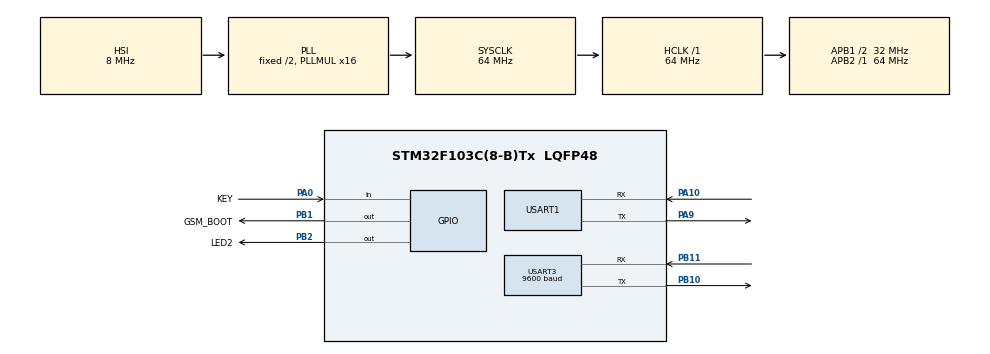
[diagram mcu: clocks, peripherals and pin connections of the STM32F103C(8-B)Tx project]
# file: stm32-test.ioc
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Mcu.Family=STM32F1
Mcu.Name=STM32F103C(8-B)Tx
Mcu.Package=LQFP48
NVIC.PriorityGroup=NVIC_PRIORITYGROUP_4
PA0-WKUP.GPIO_Label=KEY
PA0-WKUP.GPIO_PuPd=GPIO_PULLDOWN
PA0-WKUP.Signal=GPIO_Input
PA10.Mode=Asynchronous
PA10.Signal=USART1_RX
PA13.Mode=Serial_Wire
PA13.Signal=SYS_JTMS-SWDIO
PA14.Mode=Serial_Wire
PA14.Signal=SYS_JTCK-SWCLK
PA9.Mode=Asynchronous
PA9.Signal=USART1_TX
PB1.GPIO_Label=GSM_BOOT
PB1.GPIO_ModeDefaultOutputPP=GPIO_MODE_OUTPUT_OD
PB1.GPIO_PuPd=GPIO_NOPULL
PB1.Signal=GPIO_Output
PB10.Mode=Asynchronous
PB10.Signal=USART3_TX
PB11.Mode=Asynchronous
PB11.Signal=USART3_RX
PB2.GPIO_Label=LED2
PB2.Signal=GPIO_Output
ProjectManager.HeapSize=0x200
ProjectManager.StackSize=0x400
ProjectManager.TargetToolchain=STM32CubeIDE
RCC.AHBFreq_Value=64000000
RCC.APB1CLKDivider=RCC_HCLK_DIV2
RCC.APB1Freq_Value=32000000
RCC.APB1TimFreq_Value=64000000
RCC.APB2Freq_Value=64000000
RCC.APB2TimFreq_Value=64000000
RCC.HCLKFreq_Value=64000000
RCC.PLLMUL=RCC_PLL_MUL16
RCC.SYSCLKFreq_VALUE=64000000
RCC.SYSCLKSource=RCC_SYSCLKSOURCE_PLLCLK
RCC.USBFreq_Value=64000000
USART1.VirtualMode=VM_ASYNC
USART3.BaudRate=9600
USART3.VirtualMode=VM_ASYNC
board=custom

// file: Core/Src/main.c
/* USER CODE BEGIN Header */
/**
  ******************************************************************************
  * @file           : main.c
  * @brief          : Main program body
  ******************************************************************************
  * @attention
  *
  * <h2><center>&copy; Copyright (c) 2020 STMicroelectronics.
  * All rights reserved.</center></h2>
  *
  * This software component is licensed by ST under BSD 3-Clause license,
  * the "License"; You may not use this file except in compliance with the
  * License. You may obtain a copy of the License at:
  *                        opensource.org/licenses/BSD-3-Clause
  *
  ******************************************************************************
  */
/* USER CODE END Header */
#include "main.h"

/* USER CODE BEGIN Includes */

#include "stdio.h"
#include "string.h"

#include <errno.h>
#include <sys/unistd.h>// STDOUT_FILENO, STDERR_FILENO

/* USER CODE END Includes */

UART_HandleTypeDef huart1;
UART_HandleTypeDef huart3;

/* USER CODE BEGIN PV */
#pragma clang diagnostic push
#pragma ide diagnostic ignored "EndlessLoop"

float myVal = 0.4f;

uint8_t TxData[64];
uint8_t RxData[64];

/* USER CODE END PV */

void SystemClock_Config(void);
static void MX_GPIO_Init(void);
static void MX_USART1_UART_Init(void);
static void MX_USART3_UART_Init(void);

/* USER CODE BEGIN 0 */

int _write(int file, char *data, int len) {
  if ((file != STDOUT_FILENO) && (file != STDERR_FILENO)) {
    errno = EBADF;
    return -1;
  }

  // arbitrary timeout 1000
  HAL_StatusTypeDef status =
          HAL_UART_Transmit(&huart1, (uint8_t *) data, len, 1000);

  // return # of bytes written - as best we can tell
  return (status == HAL_OK ? len : 0);
}

void debugPrint(char *_out) {
  HAL_UART_Transmit(&huart1, (uint8_t *) _out, strlen(_out), 10);
  char newline[2] = "\r\n";
  HAL_UART_Transmit(&huart1, (uint8_t *) newline, 2, 10);
}

/**
 *
 * @param command - The AT command to be sent. Don't forget to add newline at the end.
 * @param rxBuffer - Where should we write received data.
 */
void sendCommand(char *command, u_int8_t *rxBuffer) {
  printf("Sending... - %s", command);
  uint8_t buffer[128];

  HAL_UART_Transmit(&huart3, (u_int8_t *) command, strlen(command), 10);
  HAL_StatusTypeDef receiveStatus = HAL_UART_Receive(&huart3, buffer, 128, 1000);
  printf("rx-status = %u ; data = \n%s\n", receiveStatus, buffer);
  HAL_Delay(400);
}

void resetBootPin(int duration) {
  HAL_GPIO_WritePin(GSM_BOOT_GPIO_Port, GSM_BOOT_Pin, GPIO_PIN_RESET);
  HAL_Delay(duration);

  HAL_GPIO_WritePin(GSM_BOOT_GPIO_Port, GSM_BOOT_Pin, GPIO_PIN_SET);
}

/**
 * Boot up SIM800C
 * @param duration - How long should boot pin be linked to ground (ms)
 */
void initGSM(int duration) {
  HAL_UART_Transmit(&huart3, (u_int8_t *) "AT\n\r", 4, 10);
  HAL_StatusTypeDef receiveStatus = HAL_UART_Receive(&huart3, RxData, 4, 1000);
  if (receiveStatus == HAL_OK) {
    printf("GSM is already started\n");
    resetBootPin(1500);
    HAL_Delay(1000);
  }

  resetBootPin(1500);

  HAL_Delay(2000);

  sendCommand("AT\n\r", RxData);
}

void testGPRS() {
  sendCommand("AT+SAPBR=3,1,\"Contype\",\"GPRS\"\n\r", RxData);
  sendCommand("AT+SAPBR=3,1,\"APN\",\"internet.beeline.ru\"\n\r", RxData);
  sendCommand("AT+SAPBR=1,1\n\r", RxData);
  sendCommand("AT+SAPBR=2,1\n\r", RxData);
}

/* USER CODE END 0 */

int main(void) {

  /* MCU Configuration--------------------------------------------------------*/

  /* Reset of all peripherals, Initializes the Flash interface and the Systick. */
  HAL_Init();

  /* Configure the system clock */
  SystemClock_Config();

  /* Initialize all configured peripherals */
  MX_GPIO_Init();
  MX_USART1_UART_Init();
  MX_USART3_UART_Init();
  /* USER CODE BEGIN 2 */

  // Startup Pin States
  HAL_GPIO_WritePin(GSM_BOOT_GPIO_Port, GSM_BOOT_Pin, GPIO_PIN_SET);

  int blinkDelay = 1000;

  initGSM(1500);

  HAL_Delay(700);

  sendCommand("AT+CPIN?", RxData);

  testGPRS();

  /* USER CODE END 2 */

  /* Infinite loop */
  while (1) {

    /* USER CODE BEGIN 3 */
    HAL_GPIO_TogglePin(LED2_GPIO_Port, LED2_Pin);

    //    const char *val = "ATI\n\r";
    //    HAL_StatusTypeDef transmitStatus = HAL_UART_Transmit(&huart3, (uint8_t *) val, strlen(val), 10);
    //    HAL_StatusTypeDef receiveStatus = HAL_UART_Receive(&huart3, RxData, sizeof(RxData), 1000);
    //    printf("tx-status: = %u ; rx-status = %u ; data = \n%s\n", transmitStatus, receiveStatus, RxData);

    sendCommand("ATI\n\r", RxData);
    //    sendCommand("AT+CSMINS?\n\r", RxData);
    //    sendCommand("AT+CLTS?\n\r", RxData);
    //    sendCommand("AT+CCID\n\r", RxData);
    //    sendCommand("AT+CGREG?\n\r", RxData);
    //    sendCommand("AT+CIPSTATUS\n\r", RxData);

    GPIO_PinState keyButton = HAL_GPIO_ReadPin(KEY_GPIO_Port, KEY_Pin);

    if (keyButton == GPIO_PIN_SET) {
      //      HAL_Delay(0);
    } else {
      HAL_Delay(blinkDelay);
    }
  }
  /* USER CODE END 3 */
}

void SystemClock_Config(void) {
  RCC_OscInitTypeDef RCC_OscInitStruct = {0};
  RCC_ClkInitTypeDef RCC_ClkInitStruct = {0};

  /** Initializes the RCC Oscillators according to the specified parameters
  * in the RCC_OscInitTypeDef structure.
  */
  RCC_OscInitStruct.OscillatorType = RCC_OSCILLATORTYPE_HSI;
  RCC_OscInitStruct.HSIState = RCC_HSI_ON;
  RCC_OscInitStruct.HSICalibrationValue = RCC_HSICALIBRATION_DEFAULT;
  RCC_OscInitStruct.PLL.PLLState = RCC_PLL_ON;
  RCC_OscInitStruct.PLL.PLLSource = RCC_PLLSOURCE_HSI_DIV2;
  RCC_OscInitStruct.PLL.PLLMUL = RCC_PLL_MUL16;
  if (HAL_RCC_OscConfig(&RCC_OscInitStruct) != HAL_OK) {
    Error_Handler();
  }
  /** Initializes the CPU, AHB and APB buses clocks
  */
  RCC_ClkInitStruct.ClockType = RCC_CLOCKTYPE_HCLK | RCC_CLOCKTYPE_SYSCLK | RCC_CLOCKTYPE_PCLK1 | RCC_CLOCKTYPE_PCLK2;
  RCC_ClkInitStruct.SYSCLKSource = RCC_SYSCLKSOURCE_PLLCLK;
  RCC_ClkInitStruct.AHBCLKDivider = RCC_SYSCLK_DIV1;
  RCC_ClkInitStruct.APB1CLKDivider = RCC_HCLK_DIV2;
  RCC_ClkInitStruct.APB2CLKDivider = RCC_HCLK_DIV1;

  if (HAL_RCC_ClockConfig(&RCC_ClkInitStruct, FLASH_LATENCY_2) != HAL_OK) {
    Error_Handler();
  }
}

static void MX_USART1_UART_Init(void) {

  huart1.Instance = USART1;
  huart1.Init.BaudRate = 115200;
  huart1.Init.WordLength = UART_WORDLENGTH_8B;
  huart1.Init.StopBits = UART_STOPBITS_1;
  huart1.Init.Parity = UART_PARITY_NONE;
  huart1.Init.Mode = UART_MODE_TX_RX;
  huart1.Init.HwFlowCtl = UART_HWCONTROL_NONE;
  huart1.Init.OverSampling = UART_OVERSAMPLING_16;
  if (HAL_UART_Init(&huart1) != HAL_OK) {
    Error_Handler();
  }
}

static void MX_USART3_UART_Init(void) {

  huart3.Instance = USART3;
  huart3.Init.BaudRate = 9600;
  huart3.Init.WordLength = UART_WORDLENGTH_8B;
  huart3.Init.StopBits = UART_STOPBITS_1;
  huart3.Init.Parity = UART_PARITY_NONE;
  huart3.Init.Mode = UART_MODE_TX_RX;
  huart3.Init.HwFlowCtl = UART_HWCONTROL_NONE;
  huart3.Init.OverSampling = UART_OVERSAMPLING_16;
  if (HAL_UART_Init(&huart3) != HAL_OK) {
    Error_Handler();
  }
}

static void MX_GPIO_Init(void) {
  GPIO_InitTypeDef GPIO_InitStruct = {0};

  /* GPIO Ports Clock Enable */
  __HAL_RCC_GPIOA_CLK_ENABLE();
  __HAL_RCC_GPIOB_CLK_ENABLE();

  /*Configure GPIO pin Output Level */
  HAL_GPIO_WritePin(GPIOB, GSM_BOOT_Pin | LED2_Pin, GPIO_PIN_RESET);

  /*Configure GPIO pin : KEY_Pin */
  GPIO_InitStruct.Pin = KEY_Pin;
  GPIO_InitStruct.Mode = GPIO_MODE_INPUT;
  GPIO_InitStruct.Pull = GPIO_PULLDOWN;
  HAL_GPIO_Init(KEY_GPIO_Port, &GPIO_InitStruct);

  /*Configure GPIO pin : GSM_BOOT_Pin */
  GPIO_InitStruct.Pin = GSM_BOOT_Pin;
  GPIO_InitStruct.Mode = GPIO_MODE_OUTPUT_OD;
  GPIO_InitStruct.Pull = GPIO_NOPULL;
  GPIO_InitStruct.Speed = GPIO_SPEED_FREQ_LOW;
  HAL_GPIO_Init(GSM_BOOT_GPIO_Port, &GPIO_InitStruct);

  /*Configure GPIO pin : LED2_Pin */
  GPIO_InitStruct.Pin = LED2_Pin;
  GPIO_InitStruct.Mode = GPIO_MODE_OUTPUT_PP;
  GPIO_InitStruct.Pull = GPIO_NOPULL;
  GPIO_InitStruct.Speed = GPIO_SPEED_FREQ_LOW;
  HAL_GPIO_Init(LED2_GPIO_Port, &GPIO_InitStruct);
}

void Error_Handler(void) {
  __disable_irq();
  while (1) {
  }
}

/************************ (C) COPYRIGHT STMicroelectronics *****END OF FILE****/
